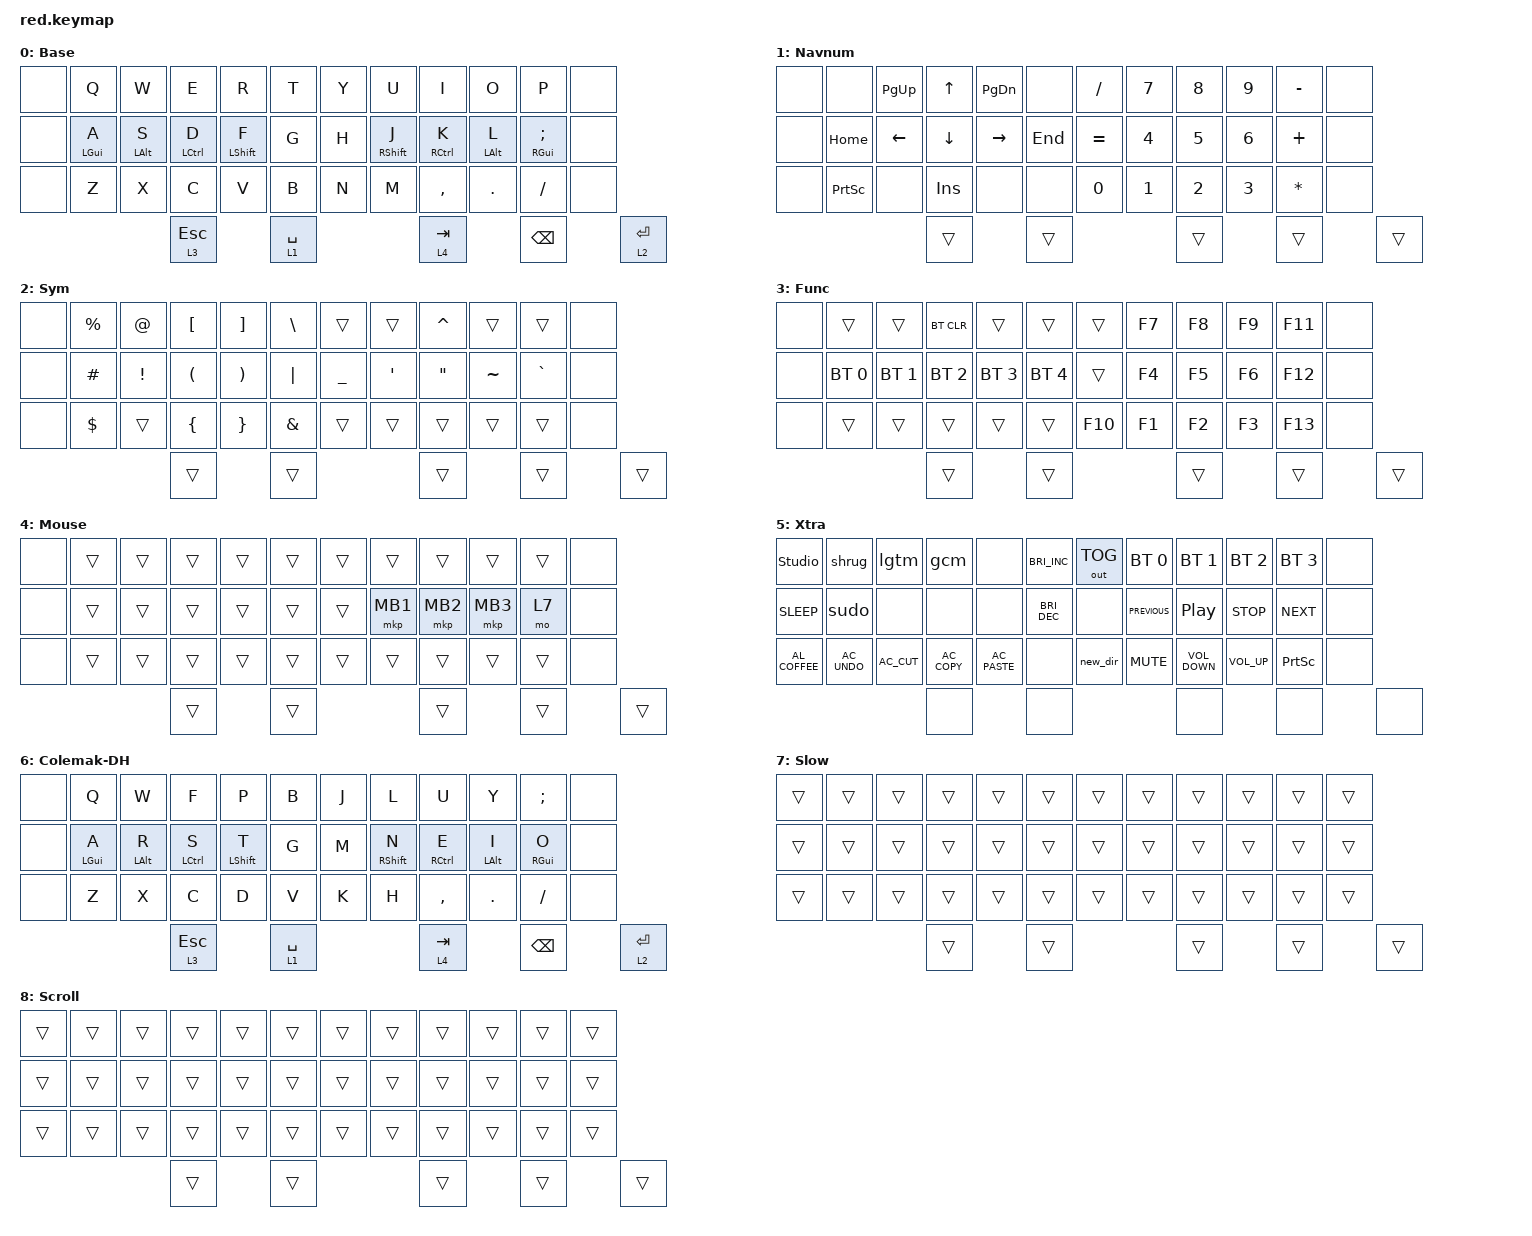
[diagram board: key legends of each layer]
/* upstream bindings and behaviors */
#include <behaviors.dtsi>
#include <dt-bindings/zmk/bt.h>
#include <dt-bindings/zmk/keys.h>
#include <dt-bindings/zmk/mouse.h>
#include <dt-bindings/zmk/outputs.h>
#include <behaviors/mouse_keys.dtsi>
#include <dt-bindings/zmk/ext_power.h>

/* local overlays */
#include "keymap_features/macros.dtsi"
#include "keymap_features/behaviors.dtsi"
#include "keymap_features/combos.dtsi"

/ {
/* --- KEYMAP CONFIG --- */
// ╭──────┬──────┬──────┬──────┬──────┬──────╮  ╭──────┬──────┬──────┬──────┬──────┬──────╮
//    00     01     02     03    04      05        06     07     08     09     10     11
// ├──────┼──────┼──────┼──────┼──────┼──────┤  ├──────┼──────┼──────┼──────┼──────┼──────┤
//    12     13     14     15    16      17        18     19     20     21     22     23
// ├──────┼──────┼──────┼──────┼──────┼──────┤  ├──────┼──────┼──────┼──────┼──────┼──────┤
//    24     25     26     27    28      29        30     31     32     33     34     35
// ╰──────┴──────┴──────┼──────┼──────┼──────┤  ├──────┼──────┼──────┴──────┴──────┴──────╯
//                         36     37     38        39     40
//                      ╰──────┴──────┴──────╯  ╰──────┴──────╯
// #define BASE    0
// #define NAVNUM  1
// #define SYM     2
// #define FUNC    3
// #define MOUSE   4
// #define EXTRAS  5
// #define COLEMAK 6

    keymap {
        compatible = "zmk,keymap";
        BASE {
            display-name = "Base";
            bindings = <
&none &kp Q &kp W &kp E &kp R &kp T &kp Y &kp U &kp I &kp O &kp P &none
&none &ht_left LGUI A &ht_left LALT S &ht_left LCTRL D &ht_left LSHFT F &kp G &kp H &ht_right RSHFT J &ht_right RCTRL K &ht_right LALT L &ht_right RGUI SEMICOLON &none
&none &kp Z &kp X &kp C &kp V &kp B &kp N &kp M &kp COMMA &kp DOT &kp FSLH &none
                  &lt_nav 3 ESC &lt_nav 1 SPACE &lt_nav 4 TAB &kp BSPC &lt_nav 2 RET 
            >;
        };

        NAVNUM {
            display-name = "Navnum";
            bindings = <
&none &none &kp PG_UP &kp UP &kp PG_DN &none &kp FSLH &kp N7 &kp N8 &kp N9 &kp MINUS &none
&none &kp HOME &kp LEFT &kp DOWN &kp RIGHT &kp END &kp EQUAL &kp N4 &kp N5 &kp N6 &kp PLUS &none
&none &kp PSCRN &none &kp INS &none &none &kp N0 &kp N1 &kp N2 &kp N3 &kp ASTERISK &none
                  &trans &trans &trans &trans &trans
            >;
        };

        SYM {
            display-name = "Sym";
            bindings = <
&none &kp PRCNT &kp AT &kp LBKT &kp RBKT &kp BSLH &trans &trans &kp CARET &trans &trans &none
&none &kp HASH &kp EXCL &kp LPAR &kp RPAR &kp PIPE &kp UNDER &kp APOS &kp DOUBLE_QUOTES &kp TILDE &kp GRAVE &none
&none &kp DLLR &trans &kp LBRC &kp RBRC &kp AMPS &trans &trans &trans &trans &trans &none
                  &trans &trans &trans &trans &trans
            >;
        };

        FUNC {
            display-name = "Func";
            bindings = <
&none &trans &trans &bt BT_CLR &trans &trans &trans &kp F7 &kp F8 &kp F9 &kp F11 &none
&none &bt BT_SEL 0 &bt BT_SEL 1 &bt BT_SEL 2 &bt BT_SEL 3 &bt BT_SEL 4 &trans &kp F4 &kp F5 &kp F6 &kp F12 &none
&none &trans &trans &trans &trans &trans &kp F10 &kp F1 &kp F2 &kp F3 &kp F13 &none
                  &trans &trans &trans &trans &trans
            >;
        };

        MOUSE {
            display-name = "Mouse";
            bindings = <
&none &trans &trans &trans &trans &trans &trans &trans &trans &trans &trans &none
&none &trans &trans &trans &trans &trans &trans &mkp MB1 &mkp MB2 &mkp MB3 &mo 7 &none
&none &trans &trans &trans &trans &trans &trans &trans &trans &trans &trans &none
                  &trans &trans &trans &trans &trans
            >;
        };

        EXTRAS {
            display-name = "Xtra";
            bindings = <
&studio_unlock    &shrug          &lgtm           &gcm            &none           &kp C_BRIGHTNESS_INC    &out OUT_TOG  &bt BT_SEL 0    &bt BT_SEL 1       &bt BT_SEL 2      &bt BT_SEL 3     &none
&kp C_SLEEP       &sudo           &none           &none           &none           &kp C_BRIGHTNESS_DEC    &none         &kp C_PREVIOUS  &kp C_PLAY_PAUSE   &kp C_STOP        &kp C_NEXT       &none
&kp C_AL_COFFEE   &kp C_AC_UNDO   &kp C_AC_CUT    &kp C_AC_COPY   &kp C_AC_PASTE  &none                   &new_dir      &kp K_MUTE      &kp C_VOLUME_DOWN  &kp C_VOLUME_UP   &kp PRINTSCREEN  &none
                                                                                   &none  &none  &none    &none         &none
            >;
        };

        COLEMAK {
            display-name = "Colemak-DH";
            bindings = <
&none &kp Q &kp W &kp F &kp P &kp B &kp J &kp L &kp U &kp Y &kp SEMICOLON &none
&none &ht_left LGUI A &ht_left LALT R &ht_left LCTRL S &ht_left LSHFT T &kp G &kp M &ht_right RSHFT N &ht_right RCTRL E &ht_right LALT I &ht_right RGUI O &none
&none &kp Z &kp X &kp C &kp D &kp V &kp K &kp H &kp COMMA &kp DOT &kp FSLH &none
                  &lt_nav 3 ESC &lt_nav 1 SPACE &lt_nav 4 TAB &kp BSPC &lt_nav 2 RET 
            >;
        };

        SLOW {
            display-name = "Slow";
            bindings = <
// ╭────────┬────────┬────────┬────────┬────────┬────────╮  ╭────────┬────────┬────────┬────────┬────────┬────────╮
    &trans    &trans   &trans   &trans   &trans   &trans      &trans   &trans   &trans   &trans   &trans   &trans
// ├────────┼────────┼────────┼────────┼────────┼────────┤  ├────────┼────────┼────────┼────────┼────────┼────────┤
    &trans    &trans   &trans   &trans   &trans   &trans      &trans   &trans   &trans   &trans   &trans   &trans
// ├────────┼────────┼────────┼────────┼────────┼────────┤  ├────────┼────────┼────────┼────────┼────────┼────────┤
    &trans    &trans   &trans   &trans   &trans   &trans      &trans   &trans   &trans   &trans   &trans   &trans
// ╰────────┴────────┴────────┼────────┼────────┼────────┤  ├────────┼────────┼────────┴────────┴────────┴────────╯
                                  &trans   &trans   &trans      &trans   &trans
                             // ╰────────┴────────┴────────╯  ╰────────┴────────╯
            >;
        };

        SCROLL {
            display-name = "Scroll";
            bindings = <
// ╭────────┬────────┬────────┬────────┬────────┬────────╮  ╭────────┬────────┬────────┬────────┬────────┬────────╮
    &trans    &trans   &trans   &trans   &trans   &trans      &trans   &trans   &trans   &trans   &trans   &trans
// ├────────┼────────┼────────┼────────┼────────┼────────┤  ├────────┼────────┼────────┼────────┼────────┼────────┤
    &trans    &trans   &trans   &trans   &trans   &trans      &trans   &trans   &trans   &trans   &trans   &trans
// ├────────┼────────┼────────┼────────┼────────┼────────┤  ├────────┼────────┼────────┼────────┼────────┼────────┤
    &trans    &trans   &trans   &trans   &trans   &trans      &trans   &trans   &trans   &trans   &trans   &trans
// ╰────────┴────────┴────────┼────────┼────────┼────────┤  ├────────┼────────┼────────┴────────┴────────┴────────╯
                                  &trans   &trans   &trans      &trans   &trans
                             // ╰────────┴────────┴────────╯  ╰────────┴────────╯
            >;
        };
    };
};
